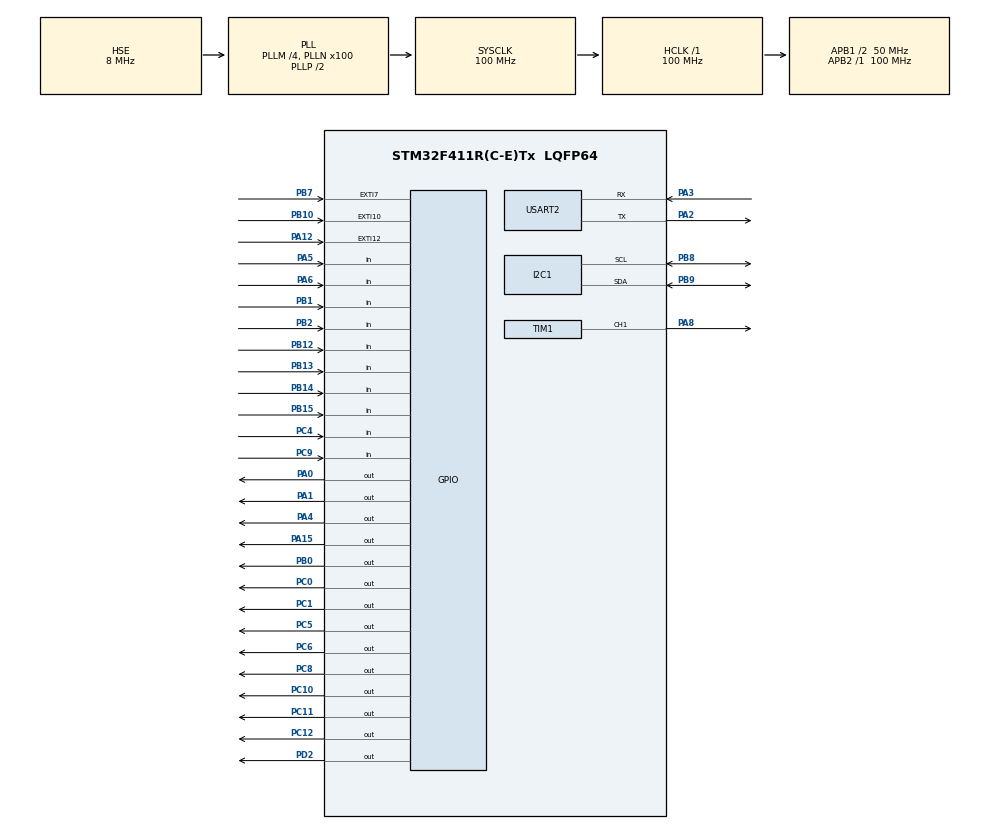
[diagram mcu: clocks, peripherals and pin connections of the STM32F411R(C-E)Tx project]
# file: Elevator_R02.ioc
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Mcu.Family=STM32F4
Mcu.Name=STM32F411R(C-E)Tx
Mcu.Package=LQFP64
NVIC.EXTI15_10_IRQn=true\:0\:0\:false\:false\:true\:true\:true\:true
NVIC.EXTI9_5_IRQn=true\:0\:0\:false\:false\:true\:true\:true\:true
NVIC.PriorityGroup=NVIC_PRIORITYGROUP_4
NVIC.USART2_IRQn=true\:0\:0\:false\:false\:true\:true\:true\:true
PA0-WKUP.GPIO_PuPd=GPIO_NOPULL
PA0-WKUP.Signal=GPIO_Output
PA1.Signal=GPIO_Output
PA12.GPIO_ModeDefaultEXTI=GPIO_MODE_IT_RISING_FALLING
PA12.GPIO_PuPd=GPIO_PULLUP
PA12.Signal=GPXTI12
PA13.Mode=Serial_Wire
PA13.Signal=SYS_JTMS-SWDIO
PA14.Mode=Serial_Wire
PA14.Signal=SYS_JTCK-SWCLK
PA15.Signal=GPIO_Output
PA2.Mode=Asynchronous
PA2.Signal=USART2_TX
PA3.Mode=Asynchronous
PA3.Signal=USART2_RX
PA4.Signal=GPIO_Output
PA5.Signal=GPIO_Input
PA6.Signal=GPIO_Input
PA8.Signal=S_TIM1_CH1
PB0.Signal=GPIO_Output
PB1.Signal=GPIO_Input
PB10.GPIO_ModeDefaultEXTI=GPIO_MODE_IT_RISING_FALLING
PB10.GPIO_PuPd=GPIO_PULLUP
PB10.Signal=GPXTI10
PB12.Signal=GPIO_Input
PB13.Signal=GPIO_Input
PB14.Signal=GPIO_Input
PB15.Signal=GPIO_Input
PB2.Signal=GPIO_Input
PB7.GPIO_ModeDefaultEXTI=GPIO_MODE_IT_RISING_FALLING
PB7.GPIO_PuPd=GPIO_PULLUP
PB7.Signal=GPXTI7
PB8.Mode=I2C
PB8.Signal=I2C1_SCL
PB9.Mode=I2C
PB9.Signal=I2C1_SDA
PC0.Signal=GPIO_Output
PC1.Signal=GPIO_Output
PC10.Signal=GPIO_Output
PC11.Signal=GPIO_Output
PC12.Signal=GPIO_Output
PC4.Signal=GPIO_Input
PC5.Signal=GPIO_Output
PC6.Signal=GPIO_Output
PC8.Signal=GPIO_Output
PC9.Signal=GPIO_Input
PD2.Signal=GPIO_Output
PH0\ -\ OSC_IN.Mode=HSE-External-Clock-Source
PH0\ -\ OSC_IN.Signal=RCC_OSC_IN
PH1\ -\ OSC_OUT.Mode=HSE-External-Clock-Source
PH1\ -\ OSC_OUT.Signal=RCC_OSC_OUT
ProjectManager.HeapSize=0x200
ProjectManager.StackSize=0x400
ProjectManager.TargetToolchain=STM32CubeIDE
RCC.48MHZClocksFreq_Value=50000000
RCC.AHBFreq_Value=100000000
RCC.APB1CLKDivider=RCC_HCLK_DIV2
RCC.APB1Freq_Value=50000000
RCC.APB1TimFreq_Value=100000000
RCC.APB2Freq_Value=100000000
RCC.APB2TimFreq_Value=100000000
RCC.CortexFreq_Value=100000000
RCC.HCLKFreq_Value=100000000
RCC.HSE_VALUE=8000000
RCC.HSI_VALUE=16000000
RCC.LSE_VALUE=32768
RCC.PLLM=4
RCC.PLLN=100
RCC.PLLSourceVirtual=RCC_PLLSOURCE_HSE
RCC.SYSCLKFreq_VALUE=100000000
RCC.SYSCLKSource=RCC_SYSCLKSOURCE_PLLCLK
RCC.VCOOutputFreq_Value=200000000
SH.S_TIM1_CH1.0=TIM1_CH1,PWM Generation1 CH1
TIM1.Channel-PWM\ Generation1\ CH1=TIM_CHANNEL_1
TIM1.Period=2000-1
TIM1.Prescaler=1000-1
TIM1.Pulse-PWM\ Generation1\ CH1=40
TIM11.Prescaler=100-1
USART2.VirtualMode=VM_ASYNC
VP_TIM11_VS_ClockSourceINT.Mode=Enable_Timer
VP_TIM1_VS_ClockSourceINT.Mode=Internal
board=custom

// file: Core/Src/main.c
/* USER CODE BEGIN Header */
/**
  ******************************************************************************
  * @file           : main.c
  * @brief          : Main program body
  ******************************************************************************
  * @attention
  *
  * Copyright (c) 2026 STMicroelectronics.
  * All rights reserved.
  *
  * This software is licensed under terms that can be found in the LICENSE file
  * in the root directory of this software component.
  * If no LICENSE file comes with this software, it is provided AS-IS.
  *
  ******************************************************************************
  */
/* USER CODE END Header */
#include "main.h"
#include "i2c.h"
#include "tim.h"
#include "usart.h"
#include "gpio.h"

/* USER CODE BEGIN Includes */

#include "app.h"

#include "led.h"
#include "delay.h"
#include "button.h"
#include "servo.h"
#include "stepper.h"
#include "elevator.h"

#include "logger.h"
#include "photo.h"

/* USER CODE END Includes */

void SystemClock_Config(void);
/* USER CODE BEGIN PFP */

void HAL_GPIO_EXTI_Callback(uint16_t GPIO_Pin)
{
  Photo_OnExti(GPIO_Pin);
}

/* USER CODE END PFP */

int main(void)
{

  /* MCU Configuration--------------------------------------------------------*/

  /* Reset of all peripherals, Initializes the Flash interface and the Systick. */
  HAL_Init();

  /* Configure the system clock */
  SystemClock_Config();

  /* Initialize all configured peripherals */
  MX_GPIO_Init();
  MX_TIM1_Init();
  MX_USART2_UART_Init();
  MX_TIM11_Init();
  MX_I2C1_Init();
  /* USER CODE BEGIN 2 */

  Log_Init(&huart2);

  HAL_TIM_PWM_Start(&htim1, TIM_CHANNEL_1);
  HAL_TIM_Base_Start(&htim11); // delay_us용 타이머 시작

  App_Init();

  /* USER CODE END 2 */

  /* Infinite loop */
  /* USER CODE BEGIN WHILE */
  while (1)
  {

  	App_Task();

    /* USER CODE END WHILE */

  }
}

void SystemClock_Config(void)
{
  RCC_OscInitTypeDef RCC_OscInitStruct = {0};
  RCC_ClkInitTypeDef RCC_ClkInitStruct = {0};

  /** Configure the main internal regulator output voltage
  */
  __HAL_RCC_PWR_CLK_ENABLE();
  __HAL_PWR_VOLTAGESCALING_CONFIG(PWR_REGULATOR_VOLTAGE_SCALE1);

  /** Initializes the RCC Oscillators according to the specified parameters
  * in the RCC_OscInitTypeDef structure.
  */
  RCC_OscInitStruct.OscillatorType = RCC_OSCILLATORTYPE_HSE;
  RCC_OscInitStruct.HSEState = RCC_HSE_BYPASS;
  RCC_OscInitStruct.PLL.PLLState = RCC_PLL_ON;
  RCC_OscInitStruct.PLL.PLLSource = RCC_PLLSOURCE_HSE;
  RCC_OscInitStruct.PLL.PLLM = 4;
  RCC_OscInitStruct.PLL.PLLN = 100;
  RCC_OscInitStruct.PLL.PLLP = RCC_PLLP_DIV2;
  RCC_OscInitStruct.PLL.PLLQ = 4;
  if (HAL_RCC_OscConfig(&RCC_OscInitStruct) != HAL_OK)
  {
    Error_Handler();
  }

  /** Initializes the CPU, AHB and APB buses clocks
  */
  RCC_ClkInitStruct.ClockType = RCC_CLOCKTYPE_HCLK|RCC_CLOCKTYPE_SYSCLK
                              |RCC_CLOCKTYPE_PCLK1|RCC_CLOCKTYPE_PCLK2;
  RCC_ClkInitStruct.SYSCLKSource = RCC_SYSCLKSOURCE_PLLCLK;
  RCC_ClkInitStruct.AHBCLKDivider = RCC_SYSCLK_DIV1;
  RCC_ClkInitStruct.APB1CLKDivider = RCC_HCLK_DIV2;
  RCC_ClkInitStruct.APB2CLKDivider = RCC_HCLK_DIV1;

  if (HAL_RCC_ClockConfig(&RCC_ClkInitStruct, FLASH_LATENCY_3) != HAL_OK)
  {
    Error_Handler();
  }
}

void Error_Handler(void)
{
  __disable_irq();
  while (1)
  {
  }
}
